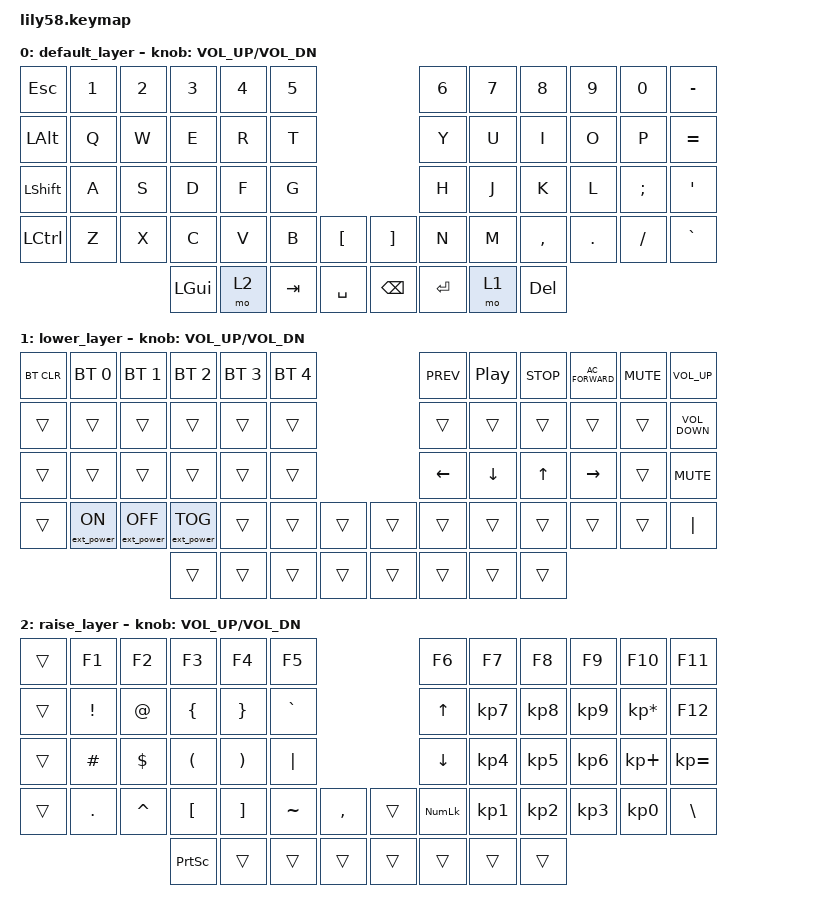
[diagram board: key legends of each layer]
/*
 * Copyright (c) 2020 The ZMK Contributors
 *
 * SPDX-License-Identifier: MIT
 */

#include <behaviors.dtsi>
#include <dt-bindings/zmk/keys.h>
#include <dt-bindings/zmk/bt.h>
#include <dt-bindings/zmk/ext_power.h>

/* / { */
/*     keymap { */
/*         compatible = "zmk,keymap"; */
/**/
/*         default_layer { */
/* // ------------------------------------------------------------------------------------------------------------ */
/* // |  ESC  |  1  |  2  |  3   |  4   |  5   |                   |  6   |  7    |  8    |  9   |   0   |   `   | */
/* // |  TAB  |  Q  |  W  |  E   |  R   |  T   |                   |  Y   |  U    |  I    |  O   |   P   |   -   | */
/* // |  CTRL |  A  |  S  |  D   |  F   |  G   |                   |  H   |  J    |  K    |  L   |   ;   |   '   | */
/* // | SHIFT |  Z  |  X  |  C   |  V   |  B   |   "["  |  |  "]"  |  N   |  M    |  ,    |  .   |   /   | SHIFT | */
/* //                     | ALT  | GUI  | LOWER|  SPACE |  | ENTER | RAISE| BSPC  | GUI   | */
/*             bindings = < */
/* &kp ESC   &kp N1 &kp N2 &kp N3   &kp N4   &kp N5                     &kp N6 &kp N7   &kp N8    &kp N9  &kp N0   &kp GRAVE */
/* &kp TAB   &kp Q  &kp W  &kp E    &kp R    &kp T                      &kp Y  &kp U    &kp I     &kp O   &kp P    &kp MINUS */
/* &kp LCTRL &kp A  &kp S  &kp D    &kp F    &kp G                      &kp H  &kp J    &kp K     &kp L   &kp SEMI &kp SQT */
/* &kp LSHFT &kp Z  &kp X  &kp C    &kp V    &kp B  &kp LBKT   &kp RBKT &kp N  &kp M    &kp COMMA &kp DOT &kp FSLH &kp RSHFT */
/*                         &kp LALT &kp LGUI &mo 1  &kp SPACE  &kp RET  &mo 2  &kp BSPC &kp RGUI */
/*             >; */
/**/
/*             sensor-bindings = <&inc_dec_kp C_VOL_UP C_VOL_DN>; */
/*         }; */
/**/
/*         lower_layer { */
/* // ------------------------------------------------------------------------------------------------------------ */
/* // | BTCLR | BT1 | BT2 |  BT3 |  BT4 |  BT5 |                   |      |       |       |      |       |       | */
/* // |  F1   |  F2 |  F3 |  F4  |  F5  |  F6  |                   |  F7  |  F8   |  F9   |  F10 |  F11  |  F12  | */
/* // |   `   |  !  |  @  |  #   |  $   |  %   |                   |  ^   |  &    |  *    |  (   |   )   |   ~   | */
/* // |       |     |     |      |      |      |        |  |       |      |  _    |  +    |  {   |   }   |  "|"  | */
/* //                     |      |      |      |        |  |       |      |       |       | */
/*             bindings = < */
/* &bt BT_CLR &bt BT_SEL 0     &bt BT_SEL 1      &bt BT_SEL 2      &bt BT_SEL 3 &bt BT_SEL 4                 &trans    &trans    &trans    &trans    &trans    &trans */
/* &kp F1     &kp F2           &kp F3            &kp F4            &kp F5       &kp F6                       &kp F7    &kp F8    &kp F9    &kp F10   &kp F11   &kp F12 */
/* &kp GRAVE  &kp EXCL         &kp AT            &kp HASH          &kp DOLLAR   &kp PRCNT                    &kp CARET &kp AMPS  &kp ASTRK &kp LPAR  &kp RPAR  &kp TILDE */
/* &trans     &ext_power EP_ON &ext_power EP_OFF &ext_power EP_TOG &trans       &trans    &trans   &trans    &trans    &kp MINUS &kp PLUS  &kp LBRC  &kp RBRC  &kp PIPE */
/*                                               &trans            &trans       &trans    &trans   &trans    &trans    &trans    &trans */
/*             >; */
/**/
/*             sensor-bindings = <&inc_dec_kp C_VOL_UP C_VOL_DN>; */
/*         }; */
/**/
/*         raise_layer { */
/* // ------------------------------------------------------------------------------------------------------------ */
/* // |       |     |     |      |      |      |                   |      |       |       |      |       |       | */
/* // |   `   |  1  |  2  |  3   |  4   |  5   |                   |  6   |   7   |   8   |  9   |   0   |       | */
/* // |   F1  |  F2 |  F3 |  F4  |  F5  |  F6  |                   |      |   <-  |   v   |  ^   |  ->   |       | */
/* // |   F7  |  F8 |  F9 |  F10 |  F11 |  F12 |        |  |       |  +   |   -   |   =   |  [   |   ]   |   \   | */
/* //                     |      |      |      |        |  |       |      |       |       | */
/*             bindings = < */
/* &trans    &trans &trans &trans  &trans  &trans                       &trans      &trans    &trans    &trans   &trans    &trans */
/* &kp GRAVE &kp N1 &kp N2 &kp N3  &kp N4  &kp N5                       &kp N6      &kp N7    &kp N8    &kp N9   &kp N0    &trans */
/* &kp F1    &kp F2 &kp F3 &kp F4  &kp F5  &kp F6                       &trans      &kp LEFT  &kp DOWN  &kp UP   &kp RIGHT &trans */
/* &kp F7    &kp F8 &kp F9 &kp F10 &kp F11 &kp F12   &trans   &trans    &kp KP_PLUS &kp MINUS &kp EQUAL &kp LBKT &kp RBKT  &kp BSLH */
/*                         &trans  &trans  &trans    &trans   &trans    &trans      &trans    &trans */
/*             >; */
/**/
/*             sensor-bindings = <&inc_dec_kp C_VOL_UP C_VOL_DN>; */
/*         }; */
/*     }; */
/* }; */

/ {
    keymap {
        compatible = "zmk,keymap";

        default_layer {
            // ------------------------------------------------------------------------------------------------------------
            // |  ESC   |  1  |  2  |  3   |  4   |  5   |                   |  6   |  7    |  8    |  9   |   0   |   -   |
            // |  LALT  |  Q  |  W  |  E   |  R   |  T   |                   |  Y   |  U    |  I    |  O   |   P   |   =   |
            // |  SHIFT |  A  |  S  |  D   |  F   |  G   |                   |  H   |  J    |  K    |  L   |   ;   |   '   |
            // | CTRL   |  Z  |  X  |  C   |  V   |  B   |   [  |  |  ]  |  N   |  M    |  ,    |  .   |   /   |   `   |
            //                     | LGUI  | LAYER2  | TAB |  SPACE |  | BSPC| ENTER| LAYER1| DEL   |

            bindings = <
&kp ESC           &kp N1  &kp N2  &kp N3        &kp N4  &kp N5                               &kp N6     &kp N7  &kp N8      &kp N9   &kp N0    &kp MINUS
&kp LEFT_ALT      &kp Q   &kp W   &kp E         &kp R   &kp T                                &kp Y      &kp U   &kp I       &kp O    &kp P     &kp EQUAL
&kp LEFT_SHIFT    &kp A   &kp S   &kp D         &kp F   &kp G                                &kp H      &kp J   &kp K       &kp L    &kp SEMI  &kp SQT
&kp LEFT_CONTROL  &kp Z   &kp X   &kp C         &kp V   &kp B    &kp LBKT     &kp RBKT       &kp N      &kp M   &kp COMMA   &kp DOT  &kp FSLH  &kp GRAVE
                                  &kp LEFT_GUI  &mo 2   &kp TAB  &kp SPACE    &kp BACKSPACE  &kp ENTER  &mo 1   &kp DELETE
            >;

            sensor-bindings = <&inc_dec_kp C_VOL_UP C_VOL_DN>;
        };

        lower_layer {
            // ------------------------------------------------------------------------------------------------------------
            // | BTCLR | BT1 | BT2 |  BT3 |  BT4 |  BT5 |                   |C_PREV|  C_PP |C_STOP |C_FORW|       | VOL_UP|
            // |       |     |     |      |      |      |                   |      |       |       |      |       |VOL_DWN|
            // |       |     |     |      |      |      |                   | L_ARR| D_ARR | UP_ARR|DWN_AR|       |  MUTE |
            // |       |EP_ON|EP_OF|EP_TOG|      |      |        |  |       |      |       |       |      |       |  "|"  |
            //                     |      |      |      |        |  |       |      |       |       |

            bindings = <
&bt BT_CLR  &bt BT_SEL 0      &bt BT_SEL 1       &bt BT_SEL 2       &bt BT_SEL 3  &bt BT_SEL 4                    &kp C_PREV      &kp C_PP        &kp C_STOP    &kp C_AC_FORWARD  &kp C_MUTE  &kp C_VOL_UP
&trans      &trans            &trans             &trans             &trans        &trans                          &trans          &trans          &trans        &trans            &trans      &kp C_VOLUME_DOWN
&trans      &trans            &trans             &trans             &trans        &trans                          &kp LEFT_ARROW  &kp DOWN_ARROW  &kp UP_ARROW  &kp RIGHT_ARROW   &trans      &kp C_MUTE
&trans      &ext_power EP_ON  &ext_power EP_OFF  &ext_power EP_TOG  &trans        &trans        &trans    &trans  &trans          &trans          &trans        &trans            &trans      &kp PIPE
                                                 &trans             &trans        &trans        &trans    &trans  &trans          &trans          &trans
            >;

            sensor-bindings = <&inc_dec_kp C_VOL_UP C_VOL_DN>;
        };

        raise_layer {
            // ------------------------------------------------------------------------------------------------------------
            // |       |  F1 |  F2 |  F3  |  F4  |  F5  |                   |  F6  |  F7   |  F8   |  F9  |  F10  |  F11  |
            // |       |  !  |  @  |  {   |  }   |  `   |                   | U_ARR| KP_7  | KP_8  | KP_9 | KP_MUL|  F12  |
            // |       |  #  |  $  |  (   |  )   |  "|" |                   | D_ARR| KP_4  | KP_5  | KP_6 |KP_PLUS| KP_EQ |
            // |       |  .  |  ^  |  [   |  ]   |   ~  |    ,   |  |       |KP_NUM| KP_1  | KP_2  | KP_3 | KP_NO |   \   |
            //                     | PRNT |      |      |        |  |       |      |       |       |

            bindings = <
&trans  &kp F1           &kp F2       &kp F3                &kp F4                 &kp F5                          &kp F6          &kp F7           &kp F8     &kp F9     &kp F10          &kp F11
&trans  &kp EXCLAMATION  &kp AT_SIGN  &kp LEFT_BRACE        &kp RIGHT_BRACE        &kp GRAVE                       &kp UP_ARROW    &kp KP_NUMBER_7  &kp KP_N8  &kp KP_N9  &kp KP_ASTERISK  &kp F12
&trans  &kp HASH         &kp DOLLAR   &kp LEFT_PARENTHESIS  &kp RIGHT_PARENTHESIS  &kp PIPE                        &kp DOWN        &kp KP_N4        &kp KP_N5  &kp KP_N6  &kp KP_PLUS      &kp KP_EQUAL
&trans  &kp PERIOD       &kp CARET    &kp LEFT_BRACKET      &kp RIGHT_BRACKET      &kp TILDE  &kp COMMA    &trans  &kp KP_NUMLOCK  &kp KP_N1        &kp KP_N2  &kp KP_N3  &kp KP_NUMBER_0  &kp BSLH
                                      &kp PRINTSCREEN       &trans                 &trans     &trans       &trans  &trans          &trans           &trans
            >;

            sensor-bindings = <&inc_dec_kp C_VOL_UP C_VOL_DN>;
        };
    };
};

